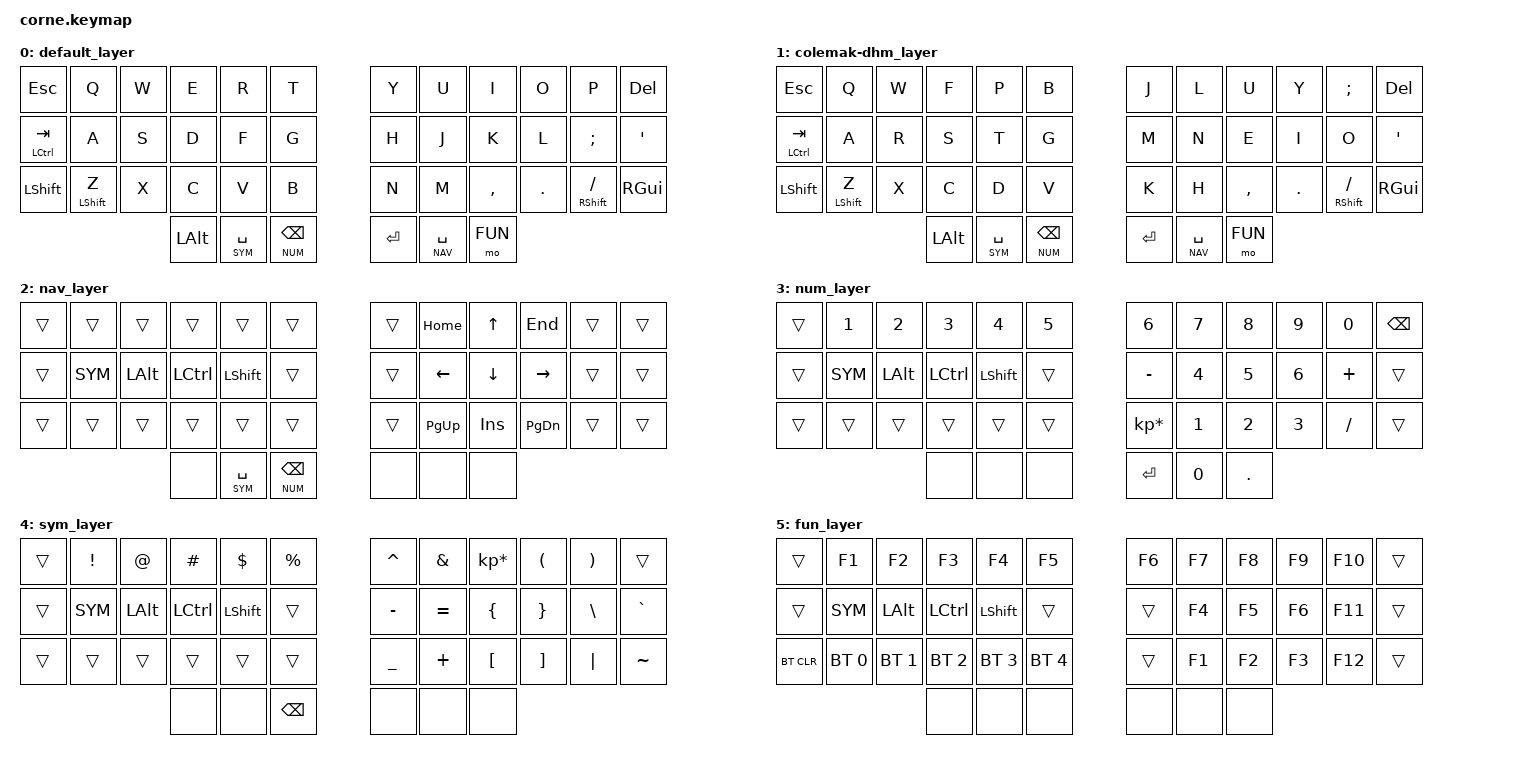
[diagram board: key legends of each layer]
#include <behaviors.dtsi>
#include <dt-bindings/zmk/keys.h>
#include <dt-bindings/zmk/bt.h>

#define DEFAULT 0
#define COL   1
#define NAV   2
#define NUM   3
#define SYM   4
#define FUN   5


&lt {
        quick-tap-ms = <200>;
};

/ {
    combos {
        compatible = "zmk,combos";
     
    
        combo_capsword {
                timeout-ms = <60>;
                key-positions = <25 34>;
                bindings= <&caps_word>;
        };
        combo_nav{
                timeout-ms = <50>;
                key-positions = <40 41>;
                bindings = <&tog NAV>;
        };
        combo_num{
                timeout-ms = <50>; 
                key-positions = <38 41>;
                bindings = <&tog NUM>;
        };
    };
};


/ {
        keymap {
                compatible = "zmk,keymap";

                default_layer {
// -----------------------------------------------------------------------------------------
// |  ESC     |  Q  |  W  |  E  |  R  |  T  |   |  Y  |  U   |  I  |  O  |  P  | DEL  |
// | CTRL TAB |  A  |  S  |  D  |  F  |  G  |   |  H  |  J   |  K  |  L  |  ;  |  '   |
// | SHIFT    |  Z  |  X  |  C  |  V  |  B  |   |  N  |  M   |  ,  |  .  |  /  | WIN  |
//                    | ALT | SPC | BKSP |   | ENT | SPC  | FUN |
                        bindings = <
   &kp ESC       &kp Q         &kp W &kp E &kp R &kp T   &kp Y &kp U  &kp I     &kp O   &kp P     &kp DEL
   &mt LCTRL TAB &kp A         &kp S &kp D &kp F &kp G   &kp H &kp J  &kp K     &kp L   &kp SEMI  &kp SQT
   &kp LSHFT     &mt LSHFT Z   &kp X &kp C &kp V &kp B   &kp N &kp M  &kp COMMA &kp DOT &mt RSHFT FSLH &kp RGUI
                  &kp LALT &lt SYM SPACE &lt NUM BSPC    &kp RET &lt NAV SPACE &mo FUN
                        >;
                };

     colemak-dhm_layer {
// -----------------------------------------------------------------------------------------
// |  ESC     |  Q  |  W  |  F  |  P  |  B  |   |  J  |  L  |  U  |  Y  |  ;  | DEL  |
// | CTRL TAB |  A  |  R  |  S  |  T  |  G  |   |  M  |  N  |  E  |  I  |  O  |  '   |
// | SHIFT    |  Z  |  X  |  C  |  D  |  V  |   |  K  |  H  |  ,  |  .  |  /  | WIN  |
//                    | ALT | SPC | BKSP |   | ENT | SPC  | FUN |
                        bindings = <
   &kp ESC       &kp Q         &kp W &kp F &kp P &kp B   &kp J &kp L  &kp U     &kp Y   &kp SEMI  &kp DEL
   &mt LCTRL TAB &kp A         &kp R &kp S &kp T &kp G   &kp M &kp N  &kp E     &kp I   &kp O     &kp SQT
   &kp LSHFT     &mt LSHFT Z   &kp X &kp C &kp D &kp V   &kp K &kp H  &kp COMMA &kp DOT &mt RSHFT FSLH &kp RGUI
                  &kp LALT &lt SYM SPACE &lt NUM BSPC    &kp RET &lt NAV SPACE &mo FUN
                        >;
                };


                nav_layer {
// -----------------------------------------------------------------------------------------
// |   |     |     |     |     |     |   | |  HOME  |   UP   |    END  |   |   |
// |   | SYM | ALT |CTRL |SHFT |     |   | |  LEFT  |  DOWN  |  RIGHT  |   |   |
// |   |     |     |     |     |     |   | |  PGUP  |   INS  | PGDOWN  |   |   |
//                 |     |     |     |   | |        |        |
                        bindings = <
   &trans  &trans  &trans   &trans    &trans    &trans       &trans  &kp HOME   &kp UP    &kp END    &trans  &trans
   &trans  &kp SYM &kp LALT &kp LCTRL &kp LSHFT &trans       &trans  &kp LEFT   &kp DOWN  &kp RIGHT  &trans  &trans
   &trans  &trans  &trans   &trans    &trans    &trans       &trans  &kp PG_UP  &kp INS   &kp PG_DN  &trans  &trans
                           &none   &lt SYM SPACE &lt NUM BSPC    &none  &none     &none
                        >;
                };
                
                num_layer {
// -----------------------------------------------------------------------------------------
// |   |  1  |  2  |  3  |  4  |  5  |   |  6  |  7  |  8  |  9  |  0  | BKSP |
// |   | SYM | ALT |CTRL |SHFT |     |   |  -  |  4  |  5  |  6  |  +  |      |
// |   |     |     |     |     |     |   |  *  |  1  |  2  |  3  |  /  |      |
//                 |     |     |     |   | ENT |  0  |  .  |
                        bindings = <
   &trans    &kp N1       &kp N2       &kp N3       &kp N4       &kp N5         &kp N6            &kp N7   &kp N8    &kp N9    &kp N0    &kp BSPC
   &trans    &kp SYM      &kp LALT     &kp LCTRL    &kp LSHFT    &trans         &kp MINUS         &kp N4   &kp N5    &kp N6    &kp PLUS  &trans
   &trans    &trans       &trans       &trans       &trans       &trans         &kp KP_MULTIPLY   &kp N1   &kp N2    &kp N3    &kp FSLH  &trans
                          	        &none     &none      &none         &kp RET           &kp N0   &kp DOT
                        >;
                };

                

                sym_layer {
// -----------------------------------------------------------------------------------------
// |   |  !  |  @  |  #  |  $  |  %  |   |  ^  |  &  |  *  |  (  |  )  |      |
// |   | SYM | ALT |CTRL |SHFT |     |   |  -  |  =  |  {  |  }  |  \  |  `   |
// |   |     |     |     |     |     |   |  _  |  +  |  [  |  ]  | "|" |  ~   |
//                    |   |     |  BKSP |   |   |     |   |
                        bindings = <
   &trans  &kp EXCL  &kp AT    &kp HASH  &kp DLLR  &kp PRCNT   &kp CARET &kp AMPS  &kp KP_MULTIPLY &kp LPAR &kp RPAR &trans
   &trans  &kp SYM   &kp LALT  &kp LCTRL &kp LSHFT  &trans      &kp MINUS &kp EQUAL &kp LBRC        &kp RBRC &kp BSLH &kp GRAVE
   &trans  &trans    &trans    &trans    &trans    &trans      &kp UNDER &kp PLUS  &kp LBKT        &kp RBKT &kp PIPE &kp TILDE
                    	     &none    &none    &kp BKSP    &none    &none  &none
                        >;
                };


                fun_layer {
// -----------------------------------------------------------------------------------------
// |        |  F1  |  F2  |  F3  |  F4  |  F5  |   |  F6  |  F7  |  F8  |  F9  |  F10  |     |
// |        |  SYM |  ALT | CTRL | SHFT |      |   |      |  F4  |  F5  |  F6  |  F11  |     |
// |  BTCLR |  BT1 | BT2  | BT3  | BT4  | BT5  |   |      |  F1  |  F2  |  F3  |  F12  |     |
//                        |      | NAV  | NUM  |   |      |  NAV |      |
                        bindings = <
   &trans      &kp F1        &kp F2        &kp F3        &kp F4        &kp F5          &kp F6   &kp F7   &kp F8    &kp F9    &kp F10  &trans
   &trans      &kp SYM       &kp LALT      &kp LCTRL     &kp LSHFT     &trans          &trans   &kp F4   &kp F5    &kp F6    &kp F11  &trans
   &bt BT_CLR  &bt BT_SEL 0  &bt BT_SEL 1  &bt BT_SEL 2  &bt BT_SEL 3  &bt BT_SEL 4    &trans   &kp F1   &kp F2    &kp F3    &kp F12  &trans
                          	&none      &none       &none        &none          &none   &none
                        >;
                };

           





        };
};
